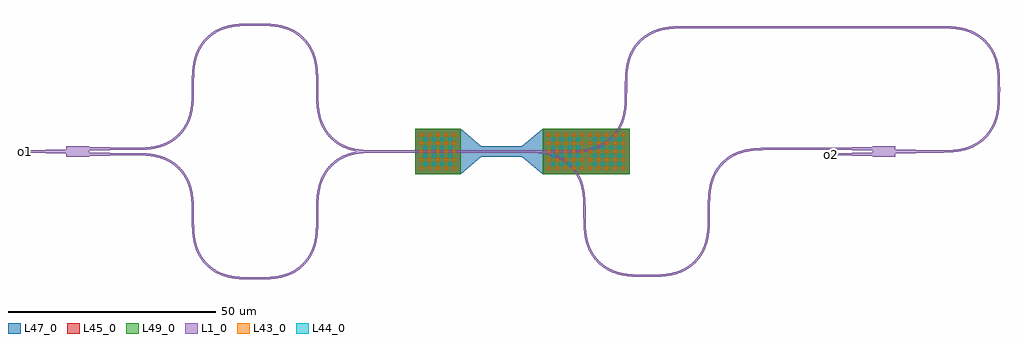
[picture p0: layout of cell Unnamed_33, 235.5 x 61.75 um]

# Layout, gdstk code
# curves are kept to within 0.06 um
from math import pi, radians
import gdstk
lib = gdstk.Library(unit=1e-6, precision=1e-09)
def R(c, l, rs):  # rectangles x0, y0, x1, y1
    for r in rs: c.add(gdstk.rectangle(r[:2], r[2:], *l))
def A(c, l, x, y, w, h, nx, ny, dx, dy):  # array of equal rectangles
    R(c, l, [(x+i*dx, y+j*dy, x+i*dx+w, y+j*dy+h) for i in range(nx) for j in range(ny)])
def P(c, l, *ps):  # polygons
    for p in ps: c.add(gdstk.Polygon(p, *l))
L1_0 = (1, 0)
L43_0 = (43, 0)
L44_0 = (44, 0)
L45_0 = (45, 0)
L47_0 = (47, 0)
L49_0 = (49, 0)

mmi1x2_wnone_wt1_lt10_l_ = lib.new_cell('mmi1x2_WNone_WT1_LT10_L_4e0f7121')
P(mmi1x2_wnone_wt1_lt10_l_, L1_0, [(0,-1.25),(0,-0.5),(-10,-0.25),(-10,0.25),(0,0.5),(0,1.25),(5.5,1.25),(5.5,1.125),(15.5,0.875),(15.5,0.375),(5.5,0.125),(5.5,-0.125),(15.5,-0.375),(15.5,-0.875),(5.5,-1.125),(5.5,-1.25)])

straight_heater_metal_u_ = lib.new_cell('straight_heater_metal_u_385113d0')
R(straight_heater_metal_u_, L1_0, [(0,-0.25,10,0.25)])
A(straight_heater_metal_u_, L43_0, -14.75, -4.35, 0.7, 0.7, 5, 5, 2, 2)
A(straight_heater_metal_u_, L43_0, 16.05, -4.35, 0.7, 0.7, 5, 5, 2, 2)
A(straight_heater_metal_u_, L44_0, -13.75, -3.35, 0.7, 0.7, 4, 4, 2, 2)
A(straight_heater_metal_u_, L44_0, 17.05, -3.35, 0.7, 0.7, 4, 4, 2, 2)
R(straight_heater_metal_u_, L45_0, [(-15.9,-5.5,-4.9,5.5), (14.9,-5.5,25.9,5.5)])
P(straight_heater_metal_u_, L47_0, [(-15.9,-5.5),(-15.9,5.5),(-4.9,5.5),(0.1,1.25),(9.9,1.25),(14.9,5.5),(25.9,5.5),(25.9,-5.5),(14.9,-5.5),(9.9,-1.25),(0.1,-1.25),(-4.9,-5.5)])
R(straight_heater_metal_u_, L49_0, [(-15.9,-5.5,-4.9,5.5), (14.9,-5.5,25.9,5.5)])

c_straight_heater_metal_u_ = lib.new_cell('straight_heater_metal_u_724508fe')
R(c_straight_heater_metal_u_, L1_0, [(0,-0.25,20,0.25)])
A(c_straight_heater_metal_u_, L43_0, -14.75, -4.35, 0.7, 0.7, 5, 5, 2, 2)
A(c_straight_heater_metal_u_, L43_0, 26.05, -4.35, 0.7, 0.7, 5, 5, 2, 2)
A(c_straight_heater_metal_u_, L44_0, -13.75, -3.35, 0.7, 0.7, 4, 4, 2, 2)
A(c_straight_heater_metal_u_, L44_0, 27.05, -3.35, 0.7, 0.7, 4, 4, 2, 2)
R(c_straight_heater_metal_u_, L45_0, [(-15.9,-5.5,-4.9,5.5), (24.9,-5.5,35.9,5.5)])
P(c_straight_heater_metal_u_, L47_0, [(-15.9,-5.5),(-15.9,5.5),(-4.9,5.5),(0.1,1.25),(19.9,1.25),(24.9,5.5),(35.9,5.5),(35.9,-5.5),(24.9,-5.5),(19.9,-1.25),(0.1,-1.25),(-4.9,-5.5)])
R(c_straight_heater_metal_u_, L49_0, [(-15.9,-5.5,-4.9,5.5), (24.9,-5.5,35.9,5.5)])

bend_euler_r15_a90_p0p5_ = lib.new_cell('bend_euler_R15_A90_P0p5_14998747')
P(bend_euler_r15_a90_p0p5_, L1_0, [(0,-0.25),(0,0.25),(2.31,0.273),(4.332,0.406),(5.924,0.652),(7.346,1.03),(8.467,1.471),(9.541,2.045),(10.54,2.741),(11.45,3.55),(12.259,4.46),(12.955,5.459),(13.529,6.533),(13.97,7.654),(14.348,9.076),(14.594,10.668),(14.727,12.69),(14.75,15),(15.25,15),(15.222,12.537),(15.106,10.752),(14.891,9.246),(14.569,7.896),(14.099,6.583),(13.527,5.441),(12.739,4.262),(11.804,3.196),(10.738,2.261),(9.559,1.473),(8.417,0.901),(7.104,0.431),(5.754,0.109),(4.248,-0.106),(2.463,-0.222)])

straight_l0p625_n2_csstr = lib.new_cell('straight_L0p625_N2_CSstrip_WNone')
R(straight_l0p625_n2_csstr, L1_0, [(0,-0.25,0.625,0.25)])

straight_l24p5_n2_csstri = lib.new_cell('straight_L24p5_N2_CSstrip_WNone')
R(straight_l24p5_n2_csstri, L1_0, [(0,-0.25,24.5,0.25)])

straight_l14p5_n2_csstri = lib.new_cell('straight_L14p5_N2_CSstrip_WNone')
R(straight_l14p5_n2_csstri, L1_0, [(0,-0.25,14.5,0.25)])

straight_l60_n2_csstrip_ = lib.new_cell('straight_L60_N2_CSstrip_WNone')
R(straight_l60_n2_csstrip_, L1_0, [(0,-0.25,60,0.25)])

unnamed_33 = lib.new_cell('Unnamed_33')
P(unnamed_33, L1_0, [(-10,-0.25),(-10.25,0),(-10.062,0.188),(-10.025,0.188),(-10.215,0),(-10.025,0),(-10.025,0.188),(-10.062,0.188),(-10,0.25)],
  [(184.5,-0.875),(184.25,-0.625),(184.438,-0.437),(184.475,-0.437),(184.285,-0.625),(184.475,-0.625),(184.475,-0.437),(184.438,-0.437),(184.5,-0.375)])
unnamed_33.add(gdstk.Reference(mmi1x2_wnone_wt1_lt10_l_, (0,0)))
unnamed_33.add(gdstk.Reference(mmi1x2_wnone_wt1_lt10_l_, (200,0), rotation=pi, x_reflection=True))
unnamed_33.add(gdstk.Reference(straight_heater_metal_u_, (100,0)))
unnamed_33.add(gdstk.Reference(c_straight_heater_metal_u_, (100,0)))
unnamed_33.add(gdstk.Reference(bend_euler_r15_a90_p0p5_, (30.5,15.625), rotation=3*pi/2, x_reflection=True))
unnamed_33.add(gdstk.Reference(bend_euler_r15_a90_p0p5_, (45.5,30.625), rotation=pi))
unnamed_33.add(gdstk.Reference(bend_euler_r15_a90_p0p5_, (60.5,15.625), rotation=pi/2))
unnamed_33.add(gdstk.Reference(bend_euler_r15_a90_p0p5_, (75.5,0), rotation=pi, x_reflection=True))
unnamed_33.add(gdstk.Reference(straight_l0p625_n2_csstr, (60.5,15), rotation=pi/2))
unnamed_33.add(gdstk.Reference(straight_l24p5_n2_csstri, (75.5,0)))
unnamed_33.add(gdstk.Reference(bend_euler_r15_a90_p0p5_, (30.5,-15.625), rotation=pi/2))
unnamed_33.add(gdstk.Reference(bend_euler_r15_a90_p0p5_, (45.5,-30.625), rotation=pi, x_reflection=True))
unnamed_33.add(gdstk.Reference(bend_euler_r15_a90_p0p5_, (60.5,-15.625), rotation=3*pi/2, x_reflection=True))
unnamed_33.add(gdstk.Reference(bend_euler_r15_a90_p0p5_, (75.5,0), rotation=pi))
unnamed_33.add(gdstk.Reference(straight_l0p625_n2_csstr, (60.5,-15), rotation=3*pi/2))
unnamed_33.add(gdstk.Reference(straight_l24p5_n2_csstri, (75.5,0)))
unnamed_33.add(gdstk.Reference(bend_euler_r15_a90_p0p5_, (125,-15), rotation=pi/2))
unnamed_33.add(gdstk.Reference(bend_euler_r15_a90_p0p5_, (140,-30), rotation=pi, x_reflection=True))
unnamed_33.add(gdstk.Reference(bend_euler_r15_a90_p0p5_, (155,-15), rotation=3*pi/2, x_reflection=True))
unnamed_33.add(gdstk.Reference(bend_euler_r15_a90_p0p5_, (170,0.625), rotation=pi))
unnamed_33.add(gdstk.Reference(straight_l0p625_n2_csstr, (155,-14.375), rotation=3*pi/2))
unnamed_33.add(gdstk.Reference(straight_l14p5_n2_csstri, (170,0.625)))
unnamed_33.add(gdstk.Reference(bend_euler_r15_a90_p0p5_, (135,15), rotation=3*pi/2, x_reflection=True))
unnamed_33.add(gdstk.Reference(bend_euler_r15_a90_p0p5_, (150,30), rotation=pi))
unnamed_33.add(gdstk.Reference(bend_euler_r15_a90_p0p5_, (225,15), rotation=pi/2))
unnamed_33.add(gdstk.Reference(straight_l60_n2_csstrip_, (210,30), rotation=pi))
unnamed_33.add(gdstk.Reference(bend_euler_r15_a90_p0p5_, (210,0)))
unnamed_33.add(gdstk.Label('o1', (-10,0), layer=1, texttype=0))
unnamed_33.add(gdstk.Label('o2', (184.5,-0.625), layer=1, texttype=0))

lib.write_gds('Unnamed_33.gds')
